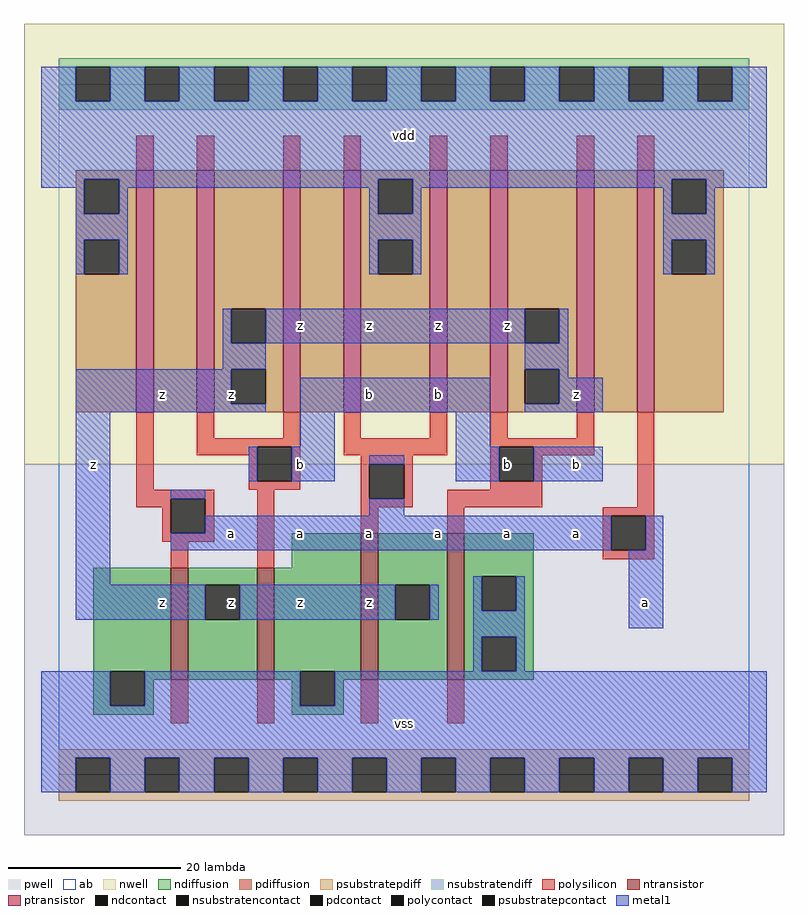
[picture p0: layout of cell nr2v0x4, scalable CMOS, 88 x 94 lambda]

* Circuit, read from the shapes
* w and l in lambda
.subckt nr2v0x4 a b vdd vss z
M1 z a vss vss nfet w=13 l=2
M2 vss b z vss nfet w=13 l=2
M3 z a vss vss nfet w=17 l=2
M4 vss b z vss nfet w=17 l=2
M5 n1 a vdd vdd pfet w=28 l=2
M6 z b n1 vdd pfet w=28 l=2
M7 n2 b z vdd pfet w=28 l=2
M8 vdd a n2 vdd pfet w=28 l=2
M9 n3 a vdd vdd pfet w=28 l=2
M10 z b n3 vdd pfet w=28 l=2
M11 n4 b z vdd pfet w=28 l=2
M12 vdd a n4 vdd pfet w=28 l=2
.ends

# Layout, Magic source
magic
tech scmos
<< ab >>
rect 0 0 80 80
<< pwell >>
rect -4 -7 84 36
<< nwell >>
rect -4 36 84 87
<< polysilicon >>
rect 9 70 11 74
rect 16 70 18 74
rect 26 70 28 74
rect 33 70 35 74
rect 43 70 45 74
rect 50 70 52 74
rect 60 70 62 74
rect 67 70 69 74
rect 9 33 11 42
rect 16 39 18 42
rect 26 39 28 42
rect 16 38 28 39
rect 16 37 23 38
rect 22 34 23 37
rect 27 34 28 38
rect 33 39 35 42
rect 43 39 45 42
rect 33 37 45 39
rect 50 39 52 42
rect 60 39 62 42
rect 50 38 62 39
rect 22 33 28 34
rect 35 36 41 37
rect 9 32 18 33
rect 9 31 13 32
rect 12 28 13 31
rect 17 28 18 32
rect 12 27 18 28
rect 13 24 15 27
rect 23 24 25 33
rect 35 32 36 36
rect 40 32 41 36
rect 50 34 51 38
rect 55 37 62 38
rect 55 34 56 37
rect 50 33 56 34
rect 35 31 41 32
rect 45 31 56 33
rect 67 31 69 42
rect 35 28 37 31
rect 45 28 47 31
rect 63 30 69 31
rect 13 6 15 11
rect 23 6 25 11
rect 63 26 64 30
rect 68 26 69 30
rect 63 25 69 26
rect 35 6 37 11
rect 45 6 47 11
<< ndiffusion >>
rect 27 24 35 28
rect 4 12 13 24
rect 4 8 6 12
rect 10 11 13 12
rect 15 22 23 24
rect 15 18 17 22
rect 21 18 23 22
rect 15 11 23 18
rect 25 12 35 24
rect 25 11 28 12
rect 10 8 11 11
rect 4 7 11 8
rect 27 8 28 11
rect 32 11 35 12
rect 37 22 45 28
rect 37 18 39 22
rect 43 18 45 22
rect 37 11 45 18
rect 47 23 55 28
rect 47 19 49 23
rect 53 19 55 23
rect 47 16 55 19
rect 47 12 49 16
rect 53 12 55 16
rect 47 11 55 12
rect 32 8 33 11
rect 27 7 33 8
<< pdiffusion >>
rect 2 69 9 70
rect 2 65 3 69
rect 7 65 9 69
rect 2 62 9 65
rect 2 58 3 62
rect 7 58 9 62
rect 2 42 9 58
rect 11 42 16 70
rect 18 54 26 70
rect 18 50 20 54
rect 24 50 26 54
rect 18 47 26 50
rect 18 43 20 47
rect 24 43 26 47
rect 18 42 26 43
rect 28 42 33 70
rect 35 69 43 70
rect 35 65 37 69
rect 41 65 43 69
rect 35 62 43 65
rect 35 58 37 62
rect 41 58 43 62
rect 35 42 43 58
rect 45 42 50 70
rect 52 54 60 70
rect 52 50 54 54
rect 58 50 60 54
rect 52 47 60 50
rect 52 43 54 47
rect 58 43 60 47
rect 52 42 60 43
rect 62 42 67 70
rect 69 69 77 70
rect 69 65 71 69
rect 75 65 77 69
rect 69 62 77 65
rect 69 58 71 62
rect 75 58 77 62
rect 69 42 77 58
<< metal1 >>
rect -2 78 2 82
rect 6 78 10 82
rect 14 78 18 82
rect 22 78 26 82
rect 30 78 34 82
rect 38 78 42 82
rect 46 78 50 82
rect 54 78 58 82
rect 62 78 66 82
rect 70 78 74 82
rect 78 78 82 82
rect -2 69 82 78
rect -2 68 3 69
rect 2 65 3 68
rect 7 68 37 69
rect 7 65 8 68
rect 2 62 8 65
rect 2 58 3 62
rect 7 58 8 62
rect 36 65 37 68
rect 41 68 71 69
rect 41 65 42 68
rect 36 62 42 65
rect 36 58 37 62
rect 41 58 42 62
rect 70 65 71 68
rect 75 68 82 69
rect 75 65 76 68
rect 70 62 76 65
rect 70 58 71 62
rect 75 58 76 62
rect 19 50 20 54
rect 24 50 54 54
rect 58 50 59 54
rect 19 47 24 50
rect 2 43 20 47
rect 54 47 59 50
rect 2 42 24 43
rect 28 42 50 46
rect 58 46 59 47
rect 58 43 63 46
rect 54 42 63 43
rect 2 22 6 42
rect 28 38 32 42
rect 22 34 23 38
rect 27 34 32 38
rect 46 38 50 42
rect 36 36 40 37
rect 13 32 17 33
rect 46 34 51 38
rect 55 34 63 38
rect 36 30 40 32
rect 17 28 64 30
rect 13 26 64 28
rect 68 26 70 30
rect 2 18 17 22
rect 21 18 39 22
rect 43 18 44 22
rect 48 19 49 23
rect 53 19 54 23
rect 48 16 54 19
rect 66 17 70 26
rect 48 12 49 16
rect 53 12 54 16
rect -2 8 6 12
rect 10 8 28 12
rect 32 8 82 12
rect -2 2 82 8
rect -2 -2 2 2
rect 6 -2 10 2
rect 14 -2 18 2
rect 22 -2 26 2
rect 30 -2 34 2
rect 38 -2 42 2
rect 46 -2 50 2
rect 54 -2 58 2
rect 62 -2 66 2
rect 70 -2 74 2
rect 78 -2 82 2
<< ntransistor >>
rect 13 11 15 24
rect 23 11 25 24
rect 35 11 37 28
rect 45 11 47 28
<< ptransistor >>
rect 9 42 11 70
rect 16 42 18 70
rect 26 42 28 70
rect 33 42 35 70
rect 43 42 45 70
rect 50 42 52 70
rect 60 42 62 70
rect 67 42 69 70
<< polycontact >>
rect 23 34 27 38
rect 13 28 17 32
rect 36 32 40 36
rect 51 34 55 38
rect 64 26 68 30
<< ndcontact >>
rect 6 8 10 12
rect 17 18 21 22
rect 28 8 32 12
rect 39 18 43 22
rect 49 19 53 23
rect 49 12 53 16
<< pdcontact >>
rect 3 65 7 69
rect 3 58 7 62
rect 20 50 24 54
rect 20 43 24 47
rect 37 65 41 69
rect 37 58 41 62
rect 54 50 58 54
rect 54 43 58 47
rect 71 65 75 69
rect 71 58 75 62
<< psubstratepcontact >>
rect 2 -2 6 2
rect 10 -2 14 2
rect 18 -2 22 2
rect 26 -2 30 2
rect 34 -2 38 2
rect 42 -2 46 2
rect 50 -2 54 2
rect 58 -2 62 2
rect 66 -2 70 2
rect 74 -2 78 2
<< nsubstratencontact >>
rect 2 78 6 82
rect 10 78 14 82
rect 18 78 22 82
rect 26 78 30 82
rect 34 78 38 82
rect 42 78 46 82
rect 50 78 54 82
rect 58 78 62 82
rect 66 78 70 82
rect 74 78 78 82
<< psubstratepdiff >>
rect 0 2 80 3
rect 0 -2 2 2
rect 6 -2 10 2
rect 14 -2 18 2
rect 22 -2 26 2
rect 30 -2 34 2
rect 38 -2 42 2
rect 46 -2 50 2
rect 54 -2 58 2
rect 62 -2 66 2
rect 70 -2 74 2
rect 78 -2 80 2
rect 0 -3 80 -2
<< nsubstratendiff >>
rect 0 82 80 83
rect 0 78 2 82
rect 6 78 10 82
rect 14 78 18 82
rect 22 78 26 82
rect 30 78 34 82
rect 38 78 42 82
rect 46 78 50 82
rect 54 78 58 82
rect 62 78 66 82
rect 70 78 74 82
rect 78 78 80 82
rect 0 77 80 78
<< labels >>
rlabel metal1 4 36 4 36 6 z
rlabel metal1 12 20 12 20 6 z
rlabel ndcontact 20 20 20 20 6 z
rlabel metal1 20 28 20 28 6 a
rlabel metal1 28 20 28 20 6 z
rlabel metal1 28 28 28 28 6 a
rlabel metal1 12 44 12 44 6 z
rlabel metal1 20 44 20 44 6 z
rlabel metal1 28 36 28 36 6 b
rlabel metal1 28 52 28 52 6 z
rlabel metal1 40 6 40 6 6 vss
rlabel metal1 36 20 36 20 6 z
rlabel metal1 36 28 36 28 6 a
rlabel metal1 44 28 44 28 6 a
rlabel metal1 36 44 36 44 6 b
rlabel metal1 44 44 44 44 6 b
rlabel metal1 36 52 36 52 6 z
rlabel metal1 44 52 44 52 6 z
rlabel metal1 40 74 40 74 6 vdd
rlabel metal1 52 28 52 28 6 a
rlabel metal1 60 28 60 28 6 a
rlabel polycontact 52 36 52 36 6 b
rlabel metal1 60 36 60 36 6 b
rlabel metal1 60 44 60 44 6 z
rlabel metal1 52 52 52 52 6 z
rlabel metal1 68 20 68 20 6 a
<< end >>
